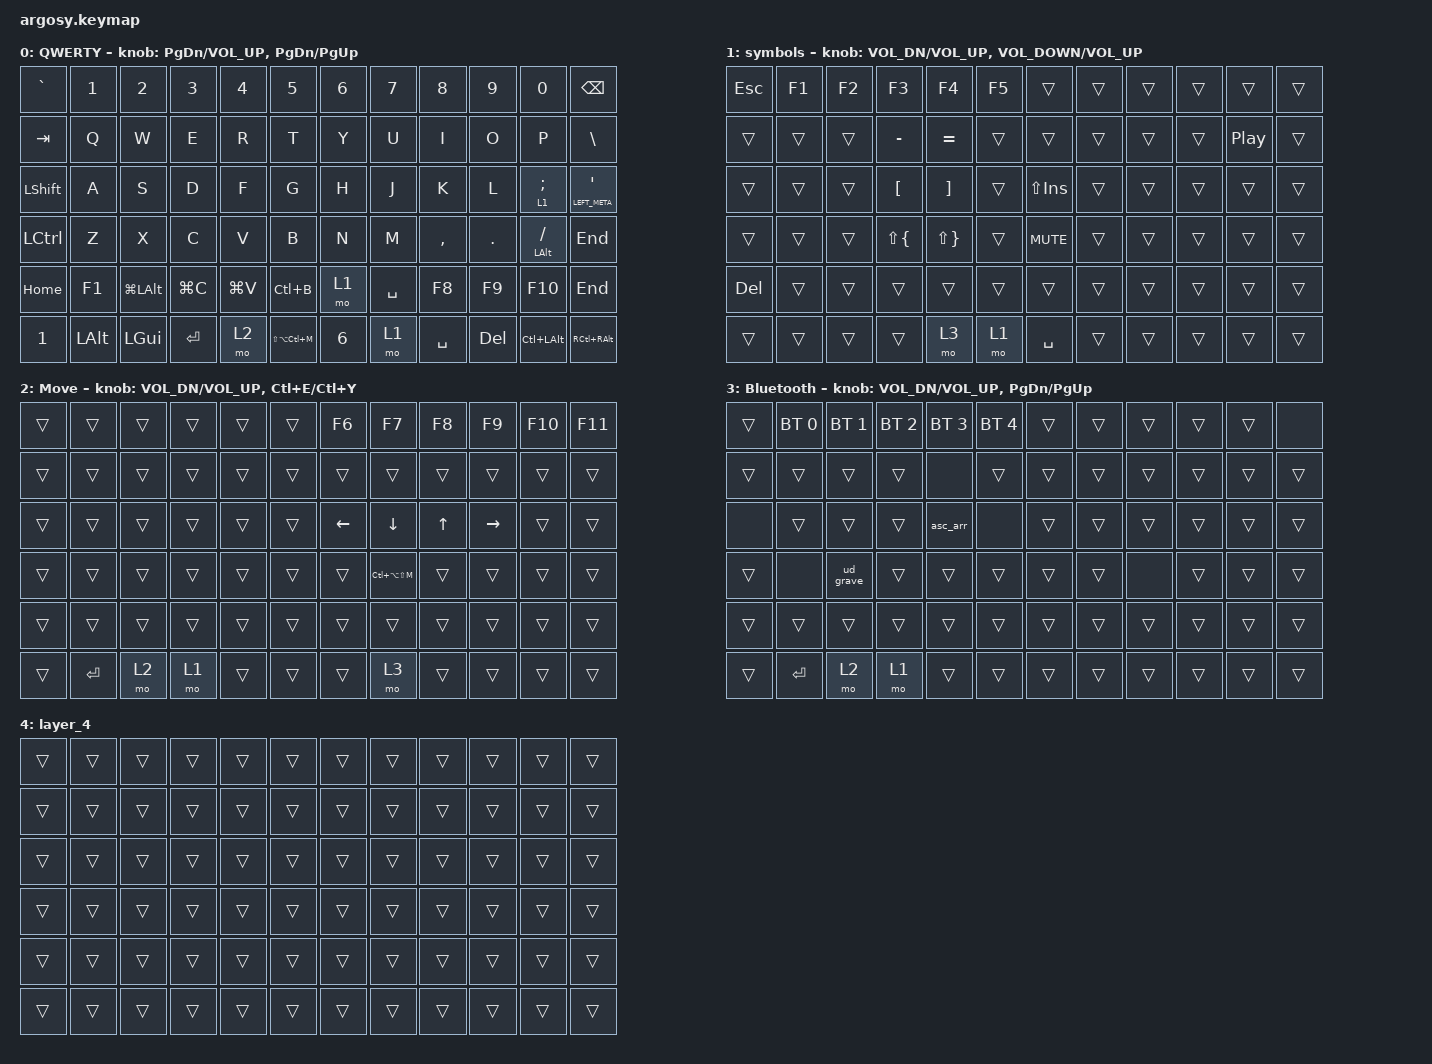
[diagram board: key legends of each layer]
#include <behaviors.dtsi>
#include <dt-bindings/zmk/bt.h>
#include <dt-bindings/zmk/keys.h>

#define COLEMAK 0
#define QWERTY 1
#define WASD 2
#define SYM 3
#define NAV 4
#define DOUBLE 5
#define ADJUST 6

// additional caps word keys

&caps_word { continue-list = <UNDERSCORE MINUS LS(MINUS) UP DOWN LEFT RIGHT BSPC DEL>; };

/ {
    behaviors {
        lthp: layer_tap_hold_preferred {
            compatible = "zmk,behavior-hold-tap";
            #binding-cells = <2>;
            flavor = "hold-preferred";
            tapping-term-ms = <200>;
            bindings = <&mo>, <&kp>;
        };

        mthp: mod_tap_hold_preferred {
            compatible = "zmk,behavior-hold-tap";
            #binding-cells = <2>;
            flavor = "tap-preferred";
            tapping-term-ms = <250>;
            bindings = <&kp>, <&kp>;
        };

        mtt: mtt {
            compatible = "zmk,behavior-hold-tap";
            label = "MTT";
            bindings = <&kp>, <&kp>;

            #binding-cells = <2>;
            tapping-term-ms = <300>;
            flavor = "tap-unless-interrupted";
        };
    };

    macros {
        // undead `

        ud_grave: ud_grave {
            compatible = "zmk,behavior-macro";
            #binding-cells = <0>;
            wait-ms = <10>;
            tap-ms = <10>;
            bindings = <&kp GRAVE &kp SPACE>;
        };

        // undead ~

        ud_tilde: ud_tilde {
            compatible = "zmk,behavior-macro";
            #binding-cells = <0>;
            wait-ms = <10>;
            tap-ms = <10>;
            bindings = <&kp TILDE &kp SPACE>;
        };

        // undead ^

        ud_caret: ud_caret {
            compatible = "zmk,behavior-macro";
            #binding-cells = <0>;
            wait-ms = <10>;
            tap-ms = <10>;
            bindings = <&kp CARET &kp SPACE>;
        };

        // undead '

        ud_sqt: ud_sqt {
            compatible = "zmk,behavior-macro";
            #binding-cells = <0>;
            wait-ms = <10>;
            tap-ms = <10>;
            bindings = <&kp SQT &kp SPACE>;
        };

        // undead "

        ud_dqt: ud_dqt {
            compatible = "zmk,behavior-macro";
            #binding-cells = <0>;
            wait-ms = <10>;
            tap-ms = <10>;
            bindings = <&kp LS(SQT) &kp SPACE>;
        };

        // ascii arrow ->

        asc_arr: asc_arr {
            compatible = "zmk,behavior-macro";
            #binding-cells = <0>;
            wait-ms = <10>;
            tap-ms = <10>;
            bindings = <&kp MINUS &kp LS(DOT)>;
        };
    };

    combos { compatible = "zmk,combos"; };

    keymap {
        compatible = "zmk,keymap";

        qwerty_layer {
            display-name = "QWERTY";
            bindings = <
&kp GRAVE     &kp N1        &kp N2            &kp N3     &kp N4     &kp N5             &kp N6        &kp N7     &kp N8     &kp N9      &kp N0                &kp BACKSPACE
&kp TAB       &kp Q         &kp W             &kp E      &kp R      &kp T              &kp Y         &kp U      &kp I      &kp O       &kp P                 &kp BACKSLASH
&kp LSHIFT    &kp A         &kp S             &kp D      &kp F      &kp G              &kp H         &kp J      &kp K      &kp L       &lthp 1 SEMICOLON     &mtt LEFT_META SQT
&kp LCTRL     &kp Z         &kp X             &kp C      &kp V      &kp B              &kp N         &kp M      &kp COMMA  &kp DOT     &mthp LEFT_ALT SLASH  &kp END
&kp HOME      &kp F1        &kp LG(LEFT_ALT)  &kp LG(C)  &kp LG(V)  &kp LC(B)          &mo 1         &kp SPACE  &kp F8     &kp F9      &kp F10               &kp END
&kp NUMBER_1  &kp LEFT_ALT  &kp LEFT_GUI      &kp ENTER  &mo 2      &kp LS(LA(LC(M)))  &kp NUMBER_6  &mo 1      &kp SPACE  &kp DELETE  &kp LC(LEFT_ALT)      &kp RC(RIGHT_ALT)
            >;

            sensor-bindings =
                <&inc_dec_kp PG_DN C_VOL_UP>,
                <&inc_dec_kp PG_DN PG_UP>;
        };

        layer1 {
            display-name = "symbols";
            bindings = <
&kp ESC  &kp F1  &kp F2  &kp F3        &kp F4        &kp F5  &trans          &trans  &trans  &trans  &trans            &trans
&trans   &trans  &trans  &kp MINUS     &kp EQUAL     &trans  &trans          &trans  &trans  &trans  &kp C_PLAY_PAUSE  &trans
&trans   &trans  &trans  &kp LBKT      &kp RBKT      &trans  &kp LS(INSERT)  &trans  &trans  &trans  &trans            &trans
&trans   &trans  &trans  &kp LS(LBRC)  &kp LS(RBRC)  &trans  &kp C_MUTE      &trans  &trans  &trans  &trans            &trans
&kp DEL  &trans  &trans  &trans        &trans        &trans  &trans          &trans  &trans  &trans  &trans            &trans
&trans   &trans  &trans  &trans        &mo 3         &mo 1   &kp SPACE       &trans  &trans  &trans  &trans            &trans
            >;

            sensor-bindings =
                <&inc_dec_kp C_VOL_DN C_VOL_UP>,
                <&inc_dec_kp C_VOLUME_DOWN C_VOLUME_UP>;
        };

        gaming_layer {
            display-name = "Move";
            bindings = <
&trans  &trans     &trans  &trans  &trans  &trans  &kp F6    &kp F7             &kp F8  &kp F9     &kp F10  &kp F11
&trans  &trans     &trans  &trans  &trans  &trans  &trans    &trans             &trans  &trans     &trans   &trans
&trans  &trans     &trans  &trans  &trans  &trans  &kp LEFT  &kp DOWN           &kp UP  &kp RIGHT  &trans   &trans
&trans  &trans     &trans  &trans  &trans  &trans  &trans    &kp LC(LA(LS(M)))  &trans  &trans     &trans   &trans
&trans  &trans     &trans  &trans  &trans  &trans  &trans    &trans             &trans  &trans     &trans   &trans
&trans  &kp ENTER  &mo 2   &mo 1   &trans  &trans  &trans    &mo 3              &trans  &trans     &trans   &trans
            >;

            sensor-bindings =
                <&inc_dec_kp C_VOL_DN C_VOL_UP>,
                <&inc_dec_kp LC(E) LC(Y)>;
        };

        // left mod

        sym_layer {
            display-name = "Bluetooth";
            bindings = <
&trans  &bt BT_SEL 0  &bt BT_SEL 1  &bt BT_SEL 2  &bt BT_SEL 3  &bt BT_SEL 4  &trans  &trans  &trans  &trans  &trans  &none
&trans  &trans        &trans        &trans        &none         &trans        &trans  &trans  &trans  &trans  &trans  &trans
&none   &trans        &trans        &trans        &asc_arr      &none         &trans  &trans  &trans  &trans  &trans  &trans
&trans  &none         &ud_grave     &trans        &trans        &trans        &trans  &trans  &none   &trans  &trans  &trans
&trans  &trans        &trans        &trans        &trans        &trans        &trans  &trans  &trans  &trans  &trans  &trans
&trans  &kp ENTER     &mo 2         &mo 1         &trans        &trans        &trans  &trans  &trans  &trans  &trans  &trans
            >;

            sensor-bindings = <&inc_dec_kp C_VOL_DN C_VOL_UP &inc_dec_kp PG_DN PG_UP>;
        };

        layer_4 {
            bindings = <
&trans  &trans  &trans  &trans  &trans  &trans  &trans  &trans  &trans  &trans  &trans  &trans
&trans  &trans  &trans  &trans  &trans  &trans  &trans  &trans  &trans  &trans  &trans  &trans
&trans  &trans  &trans  &trans  &trans  &trans  &trans  &trans  &trans  &trans  &trans  &trans
&trans  &trans  &trans  &trans  &trans  &trans  &trans  &trans  &trans  &trans  &trans  &trans
&trans  &trans  &trans  &trans  &trans  &trans  &trans  &trans  &trans  &trans  &trans  &trans
&trans  &trans  &trans  &trans  &trans  &trans  &trans  &trans  &trans  &trans  &trans  &trans
            >;
        };

        // right mod
        // double mod
    };
};
